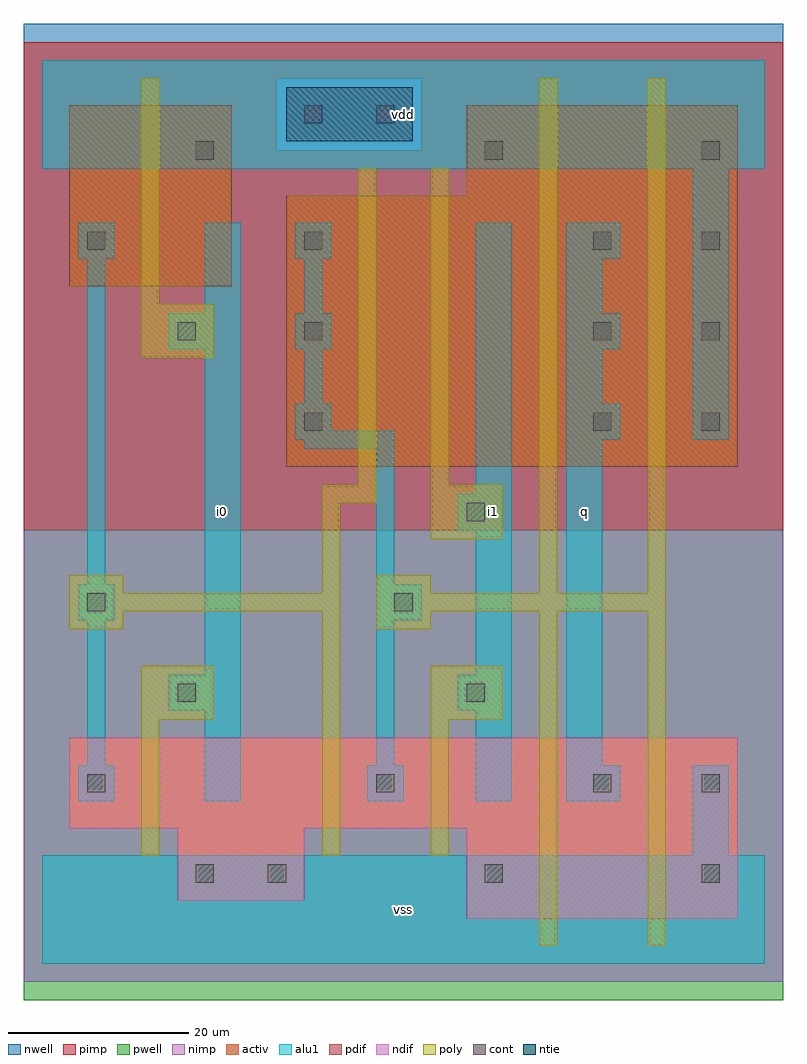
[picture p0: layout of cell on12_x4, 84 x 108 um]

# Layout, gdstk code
import gdstk
lib = gdstk.Library(unit=1e-6, precision=1e-09)
def R(c, l, rs):  # rectangles x0, y0, x1, y1
    for r in rs: c.add(gdstk.rectangle(r[:2], r[2:], *l))
def A(c, l, x, y, w, h, nx, ny, dx, dy):  # array of equal rectangles
    R(c, l, [(x+i*dx, y+j*dy, x+i*dx+w, y+j*dy+h) for i in range(nx) for j in range(ny)])
ndif = (3, 0)
pdif = (4, 0)
ntie = (5, 0)
cont = (25, 0)
pwell = (41, 0)
nwell = (42, 0)
activ = (43, 0)
pimp = (44, 0)
nimp = (45, 0)
poly = (46, 0)
alu1 = (49, 0)

on12_x4 = lib.new_cell('on12_x4')
R(on12_x4, ndif, [(47,5,77,15), (15,7,29,15), (3,15,77,25)])
R(on12_x4, pdif, [(27,55,77,85), (3,75,21,95), (47,85,77,95)])
R(on12_x4, ntie, [(27,91,41,97)])
A(on12_x4, cont, 25, 9, 2, 2, 3, 1, 24, 0)
A(on12_x4, cont, 29, 59, 2, 2, 1, 3, 0, 10)
A(on12_x4, cont, 61, 59, 2, 2, 1, 3, 0, 10)
A(on12_x4, cont, 73, 59, 2, 2, 1, 4, 0, 10)
R(on12_x4, cont, [(17,9,19,11), (5,19,7,21), (37,19,39,21), (61,19,63,21), (73,19,75,21), (15,29,17,31), (47,29,49,31), (5,39,7,41), (39,39,41,41), (47,49,49,51), (15,69,17,71), (5,79,7,81), (17,89,19,91), (49,89,51,91), (29,93,31,95), (37,93,39,95)])
R(on12_x4, pwell, [(-2,-4,82,48)])
R(on12_x4, nwell, [(-2,48,82,104)])
R(on12_x4, activ, [(47,5,77,15), (15,7,29,15), (3,15,77,25), (27,55,77,85), (3,75,21,95), (47,85,77,95), (27,91,41,97)])
R(on12_x4, pimp, [(-2,48,82,90), (-2,90,26,98), (42,90,82,98), (-2,98,82,102)])
R(on12_x4, nimp, [(-2,-2,82,48), (26,90,42,98)])
R(on12_x4, poly, [(55,2,57,39), (67,2,69,39), (11,12,13,27), (31,12,33,39), (43,12,45,27), (11,27,19,33), (43,27,51,33), (3,37,9,39), (37,37,43,39), (3,39,33,41), (37,39,69,41), (3,41,9,43), (31,41,33,51), (37,41,43,43), (55,41,57,98), (67,41,69,98), (43,47,51,53), (31,51,37,53), (35,53,37,88), (43,53,45,88), (11,67,19,73), (11,73,13,98)])
A(on12_x4, alu1, 58, 58, 6, 4, 1, 3, 0, 10)
R(on12_x4, alu1, [(0,0,80,12), (72,12,76,22), (4,18,8,22), (18,18,22,28), (36,18,40,22), (48,18,52,28), (58,18,64,22), (5,22,7,38), (37,22,39,38), (58,22,62,58), (14,28,22,32), (46,28,52,32), (18,32,22,68), (48,32,52,48), (4,38,8,42), (37,38,42,42), (5,42,7,78), (37,42,39,57), (46,48,52,52), (48,52,52,82), (29,57,39,58), (28,58,39,59), (72,58,76,88), (28,59,32,62), (29,62,31,68), (58,62,62,68), (14,68,22,72), (28,68,32,72), (18,72,22,82), (29,72,31,78), (58,72,62,78), (4,78,8,82), (28,78,32,82), (0,88,80,100)])
on12_x4.add(gdstk.Label('i0', (20,50), layer=49, texttype=0))
on12_x4.add(gdstk.Label('vss', (40,6), layer=49, texttype=0))
on12_x4.add(gdstk.Label('i1', (50,50), layer=49, texttype=0))
on12_x4.add(gdstk.Label('vdd', (40,94), layer=49, texttype=0))
on12_x4.add(gdstk.Label('q', (60,50), layer=49, texttype=0))

lib.write_gds('on12_x4.gds')
